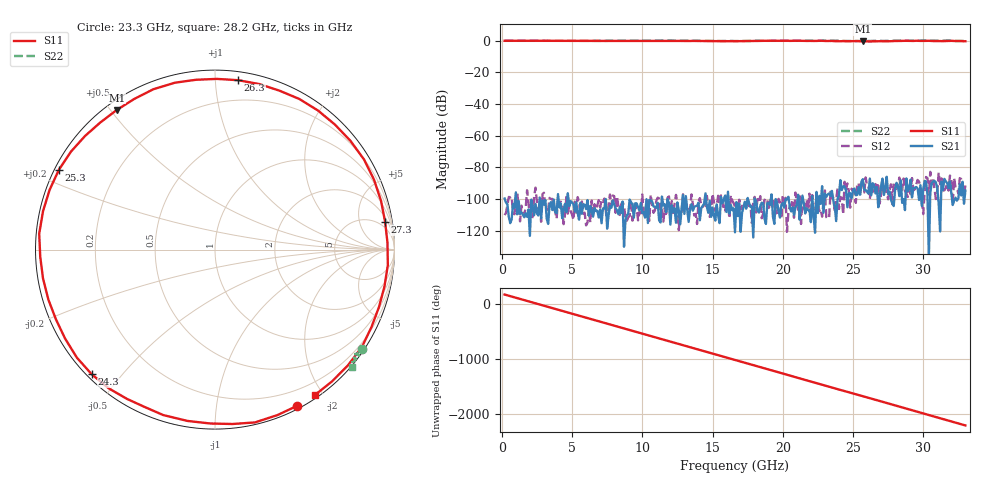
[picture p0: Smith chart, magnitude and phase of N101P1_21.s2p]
# GHZ S RI R 50
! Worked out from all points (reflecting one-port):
!   329 points, 200 MHz to 33 GHz, reference 50 ohm
!   lowest |S11| = -0.4 dB at 25.7 GHz (marker M1), VSWR 39.93, Z = 1.59 + j25.9 ohm
!   phase of S11 starts at 165 deg and turns -2369 deg over the sweep
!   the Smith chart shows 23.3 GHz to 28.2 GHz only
!   S11 on the Smith chart (normalised r, x): 23.3 GHz: 0.03, -1.65; 24.3 GHz: 0.01, -0.42; 25.3 GHz: 0.01, +0.24; 26.3 GHz: 0.06, +1.14; 27.3 GHz: 3, +12; 28.2 GHz: 0.04, -1.90
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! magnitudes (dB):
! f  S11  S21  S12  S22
! 200 MHz  0.0  -99.7  -110.1  0.0
! 5.7 GHz  -0.1  -109.2  -101.6  -0.1
! 11.2 GHz  -0.1  -113.6  -99.7  0.1
! 16.6 GHz  -0.3  -121.0  -105.1  -0.2
! 19.5 GHz  0.0  -100.0  -109.1  0.0
! 22.1 GHz  -0.1  -98.2  -97.5  0.0
! 22.8 GHz  0.0  -91.9  -111.2  0.1
! 23.3 GHz  -0.1  -96.4  -112.0  -0.1
! 23.9 GHz  -0.3  -100.2  -93.0  0.1
! 24.3 GHz  -0.2  -92.1  -109.7  -0.2
! 25.3 GHz  -0.2  -97.4  -90.6  -0.2
! 25.7 GHz  -0.4  -87.5  -89.0  -0.2
! 26.3 GHz  -0.4  -97.6  -92.3  -0.1
! 27.3 GHz  -0.4  -92.6  -92.3  -0.1
! 27.6 GHz  -0.3  -95.2  -94.9  -0.1
! 28.2 GHz  -0.1  -92.0  -90.8  0.0
! 29 GHz  -0.1  -93.4  -91.9  -0.1
! 30.3 GHz  0.0  -97.2  -86.8  0.2
! 31.3 GHz  -0.2  -89.0  -87.0  -0.1
! 31.9 GHz  0.0  -88.9  -85.2  0.1
! 32.1 GHz  -0.1  -103.8  -103.1  -0.1
! 33 GHz  -0.3  -94.7  -91.4  -0.1
